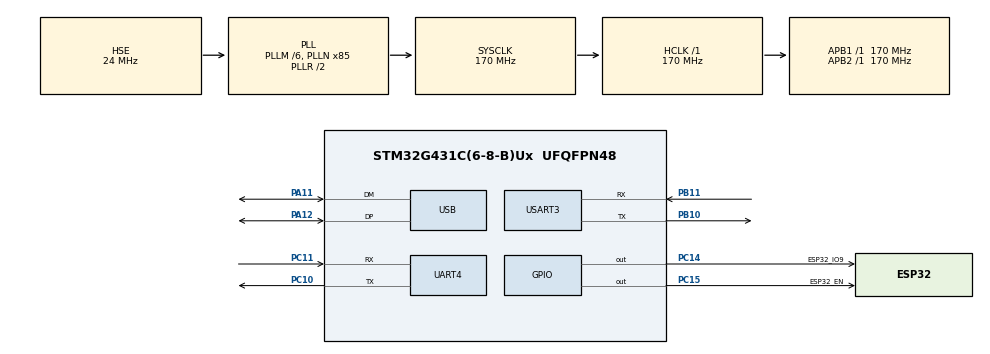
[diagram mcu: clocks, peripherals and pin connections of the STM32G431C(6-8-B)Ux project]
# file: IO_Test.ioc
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Mcu.Family=STM32G4
Mcu.Name=STM32G431C(6-8-B)Ux
Mcu.Package=UFQFPN48
NVIC.PriorityGroup=NVIC_PRIORITYGROUP_4
NVIC.UART4_IRQn=true\:0\:0\:false\:false\:true\:true\:true\:true
NVIC.USART3_IRQn=true\:0\:0\:false\:false\:true\:true\:true\:true
NVIC.USB_LP_IRQn=true\:0\:0\:false\:false\:true\:false\:true\:true
PA11.Mode=Device
PA11.Signal=USB_DM
PA12.Mode=Device
PA12.Signal=USB_DP
PA13.Mode=Serial_Wire
PA13.Signal=SYS_JTMS-SWDIO
PA14.Mode=Serial_Wire
PA14.Signal=SYS_JTCK-SWCLK
PB10.Mode=Asynchronous
PB10.Signal=USART3_TX
PB11.Mode=Asynchronous
PB11.Signal=USART3_RX
PC10.Mode=Asynchronous
PC10.Signal=UART4_TX
PC11.Mode=Asynchronous
PC11.Signal=UART4_RX
PC14-OSC32_IN.GPIO_Label=ESP32_IO9
PC14-OSC32_IN.Signal=GPIO_Output
PC15-OSC32_OUT.GPIO_Label=ESP32_EN
PC15-OSC32_OUT.Signal=GPIO_Output
PF0-OSC_IN.Mode=HSE-External-Oscillator
PF0-OSC_IN.Signal=RCC_OSC_IN
PF1-OSC_OUT.Mode=HSE-External-Oscillator
PF1-OSC_OUT.Signal=RCC_OSC_OUT
ProjectManager.HeapSize=0x200
ProjectManager.StackSize=0x400
ProjectManager.TargetToolchain=MDK-ARM V5.32
RCC.ADC12Freq_Value=170000000
RCC.AHBFreq_Value=170000000
RCC.APB1Freq_Value=170000000
RCC.APB1TimFreq_Value=170000000
RCC.APB2Freq_Value=170000000
RCC.APB2TimFreq_Value=170000000
RCC.CK48CLockSelection=RCC_USBCLKSOURCE_HSI48
RCC.CortexFreq_Value=170000000
RCC.EXTERNAL_CLOCK_VALUE=12288000
RCC.HCLKFreq_Value=170000000
RCC.HSE_VALUE=24000000
RCC.HSI48_VALUE=48000000
RCC.HSI_VALUE=16000000
RCC.LSE_VALUE=32768
RCC.PLLM=RCC_PLLM_DIV6
RCC.PLLN=85
RCC.PLLQ=RCC_PLLQ_DIV4
RCC.PLLSourceVirtual=RCC_PLLSOURCE_HSE
RCC.SYSCLKFreq_VALUE=170000000
RCC.SYSCLKSource=RCC_SYSCLKSOURCE_PLLCLK
RCC.USBFreq_Value=48000000
RCC.VCOOutputFreq_Value=340000000
USART3.VirtualMode-Asynchronous=VM_ASYNC
USB_DEVICE.CLASS_NAME_FS=CDC
USB_DEVICE.VirtualMode=Cdc
USB_DEVICE.VirtualModeFS=Cdc_FS
VP_SYS_VS_DBSignals.Mode=DisableDeadBatterySignals
VP_USB_DEVICE_VS_USB_DEVICE_CDC_FS.Mode=CDC_FS
board=custom

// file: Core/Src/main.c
/* USER CODE BEGIN Header */
/**
  ******************************************************************************
  * @file           : main.c
  * @brief          : Main program body
  ******************************************************************************
  * @attention
  *
  * Copyright (c) 2025 STMicroelectronics.
  * All rights reserved.
  *
  * This software is licensed under terms that can be found in the LICENSE file
  * in the root directory of this software component.
  * If no LICENSE file comes with this software, it is provided AS-IS.
  *
  ******************************************************************************
  */
/* USER CODE END Header */
#include "main.h"
#include "usart.h"
#include "usb_device.h"
#include "gpio.h"

/* USER CODE BEGIN Includes */
#include "POM_ESP32_C3.h"
#include "usbd_cdc_if.h"
/* USER CODE END Includes */

/* USER CODE BEGIN PD */
#define BUF_SIZE 1024

/* USER CODE END PD */

/* USER CODE BEGIN PV */
uint8_t uart_rx4_buf1[BUF_SIZE], uart_rx4_buf2[BUF_SIZE];
uint8_t uart_rx3_buf1[BUF_SIZE], uart_rx3_buf2[BUF_SIZE];
uint8_t *DownLoad_Data_buf = uart_rx4_buf1;
uint8_t *AT_CMD_buf = uart_rx3_buf1;

volatile uint8_t Mode = 0;
/* USER CODE END PV */

void SystemClock_Config(void);

int main(void)
{

  /* MCU Configuration--------------------------------------------------------*/

  /* Reset of all peripherals, Initializes the Flash interface and the Systick. */
  HAL_Init();

  /* Configure the system clock */
  SystemClock_Config();

  /* Initialize all configured peripherals */
  MX_GPIO_Init();
  MX_UART4_Init();
  MX_USART3_UART_Init();
  MX_USB_Device_Init();
  /* USER CODE BEGIN 2 */
  Disable_ESP32_C3();
  HAL_Delay(1000);
  HAL_UARTEx_ReceiveToIdle_IT(&huart3,AT_CMD_buf,BUF_SIZE);
  HAL_UARTEx_ReceiveToIdle_IT(&huart4,DownLoad_Data_buf,BUF_SIZE);
  /* USER CODE END 2 */

  /* Infinite loop */
  /* USER CODE BEGIN WHILE */
  while (1)
  {
    if(Mode == 0)
    {
      Reset_ESP32_C3_To_Run();
      CDC_Transmit_FS("AT_Mode\n",8);
      Mode = 1;
    }
    else if(Mode == 100)
    {
      Reset_ESP32_C3_To_Download();
      CDC_Transmit_FS("DownLoad_Mode\n",14);
      Mode = 101;
    }
    else if(Mode == 200)
    {
      Disable_ESP32_C3();
      CDC_Transmit_FS("Disable_ESP32\n",14);
      Mode = 201;

    }
    /* USER CODE END WHILE */

  }
}

void SystemClock_Config(void)
{
  RCC_OscInitTypeDef RCC_OscInitStruct = {0};
  RCC_ClkInitTypeDef RCC_ClkInitStruct = {0};

  /** Configure the main internal regulator output voltage
  */
  HAL_PWREx_ControlVoltageScaling(PWR_REGULATOR_VOLTAGE_SCALE1_BOOST);

  /** Initializes the RCC Oscillators according to the specified parameters
  * in the RCC_OscInitTypeDef structure.
  */
  RCC_OscInitStruct.OscillatorType = RCC_OSCILLATORTYPE_HSI48|RCC_OSCILLATORTYPE_HSE;
  RCC_OscInitStruct.HSEState = RCC_HSE_ON;
  RCC_OscInitStruct.HSI48State = RCC_HSI48_ON;
  RCC_OscInitStruct.PLL.PLLState = RCC_PLL_ON;
  RCC_OscInitStruct.PLL.PLLSource = RCC_PLLSOURCE_HSE;
  RCC_OscInitStruct.PLL.PLLM = RCC_PLLM_DIV6;
  RCC_OscInitStruct.PLL.PLLN = 85;
  RCC_OscInitStruct.PLL.PLLP = RCC_PLLP_DIV2;
  RCC_OscInitStruct.PLL.PLLQ = RCC_PLLQ_DIV4;
  RCC_OscInitStruct.PLL.PLLR = RCC_PLLR_DIV2;
  if (HAL_RCC_OscConfig(&RCC_OscInitStruct) != HAL_OK)
  {
    Error_Handler();
  }

  /** Initializes the CPU, AHB and APB buses clocks
  */
  RCC_ClkInitStruct.ClockType = RCC_CLOCKTYPE_HCLK|RCC_CLOCKTYPE_SYSCLK
                              |RCC_CLOCKTYPE_PCLK1|RCC_CLOCKTYPE_PCLK2;
  RCC_ClkInitStruct.SYSCLKSource = RCC_SYSCLKSOURCE_PLLCLK;
  RCC_ClkInitStruct.AHBCLKDivider = RCC_SYSCLK_DIV1;
  RCC_ClkInitStruct.APB1CLKDivider = RCC_HCLK_DIV1;
  RCC_ClkInitStruct.APB2CLKDivider = RCC_HCLK_DIV1;

  if (HAL_RCC_ClockConfig(&RCC_ClkInitStruct, FLASH_LATENCY_4) != HAL_OK)
  {
    Error_Handler();
  }
}

/* USER CODE BEGIN 4 */
void HAL_UARTEx_RxEventCallback(UART_HandleTypeDef *huart, uint16_t Size)
{
    if(huart->Instance == USART3)
    {
        if(AT_CMD_buf == uart_rx3_buf1) {
          CDC_Transmit_FS(uart_rx3_buf1, Size);
          AT_CMD_buf = uart_rx3_buf2;
        } else {
          CDC_Transmit_FS(uart_rx3_buf2, Size);
          AT_CMD_buf = uart_rx3_buf1;
        }
        HAL_UARTEx_ReceiveToIdle_IT(&huart3,AT_CMD_buf,BUF_SIZE);
    }
    if(huart->Instance == UART4)
    {
        if(DownLoad_Data_buf == uart_rx4_buf1) {
          CDC_Transmit_FS(uart_rx4_buf1, Size);
          DownLoad_Data_buf = uart_rx4_buf2;
        } else {
          CDC_Transmit_FS(uart_rx4_buf2, Size);
          DownLoad_Data_buf = uart_rx4_buf1;
        }
        HAL_UARTEx_ReceiveToIdle_IT(&huart4,DownLoad_Data_buf,BUF_SIZE);
    }
}
/* USER CODE END 4 */

void Error_Handler(void)
{
  __disable_irq();
  while (1)
  {
  }
}
